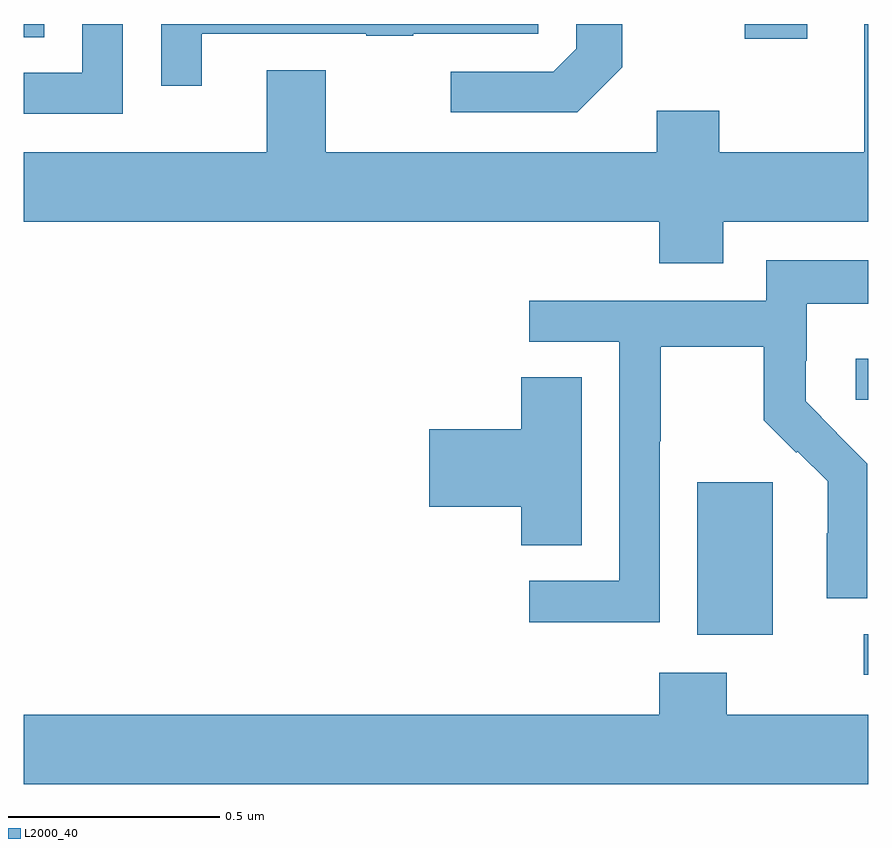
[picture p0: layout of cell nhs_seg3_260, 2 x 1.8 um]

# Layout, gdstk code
import gdstk
lib = gdstk.Library(unit=1e-6, precision=1e-09)
def R(c, l, rs):  # rectangles x0, y0, x1, y1
    for r in rs: c.add(gdstk.rectangle(r[:2], r[2:], *l))
def P(c, l, *ps):  # polygons
    for p in ps: c.add(gdstk.Polygon(p, *l))
L2000_40 = (2000, 40)

nhs_seg3_260 = lib.new_cell('nhs_seg3_260')
R(nhs_seg3_260, L2000_40, [(115.989,683.859,116,683.955), (115.595,683.954,115.774,684.315), (115.971,684.51,116,684.607), (115.707,685.365,115.855,685.4), (114,685.369,114.048,685.4)])
P(nhs_seg3_260, L2000_40, [(115.657,684.932),(116,684.932),(116,685.4),(115.991,685.4),(115.991,685.096),(115.647,685.096),(115.647,685.195),(115.499,685.195),(115.499,685.096),(114.715,685.096),(114.715,685.291),(114.575,685.291),(114.575,685.096),(114,685.096),(114,684.932),(115.505,684.932),(115.505,684.833),(115.657,684.833)],
  [(114.234,685.4),(114.138,685.4),(114.138,685.284),(114,685.284),(114,685.188),(114.234,685.188)],
  [(115.417,685.297),(115.417,685.4),(115.308,685.4),(115.308,685.341),(115.254,685.287),(115.011,685.287),(115.011,685.191),(115.311,685.191)],
  [(114.421,685.377),(114.811,685.377),(114.811,685.372),(114.923,685.372),(114.923,685.377),(115.218,685.377),(115.218,685.4),(114.325,685.4),(114.325,685.254),(114.421,685.254)],
  [(115.506,684.412),(115.509,684.412),(115.509,684.636),(115.753,684.636),(115.753,684.461),(115.83,684.384),(115.833,684.387),(115.904,684.317),(115.904,684.194),(115.902,684.194),(115.902,684.04),(115.998,684.04),(115.998,684.358),(115.925,684.431),(115.926,684.432),(115.852,684.506),(115.852,684.603),(115.854,684.603),(115.854,684.737),(116,684.737),(116,684.841),(115.758,684.841),(115.758,684.744),(115.197,684.744),(115.197,684.648),(115.41,684.648),(115.41,684.081),(115.197,684.081),(115.197,683.983),(115.506,683.983)],
  [(115.321,684.563),(115.178,684.563),(115.178,684.44),(114.96,684.44),(114.96,684.257),(115.178,684.257),(115.178,684.166),(115.321,684.166)],
  [(116,683.764),(115.665,683.764),(115.665,683.863),(115.505,683.863),(115.505,683.764),(114,683.764),(114,683.6),(116,683.6)])

lib.write_gds('nhs_seg3_260.gds')
